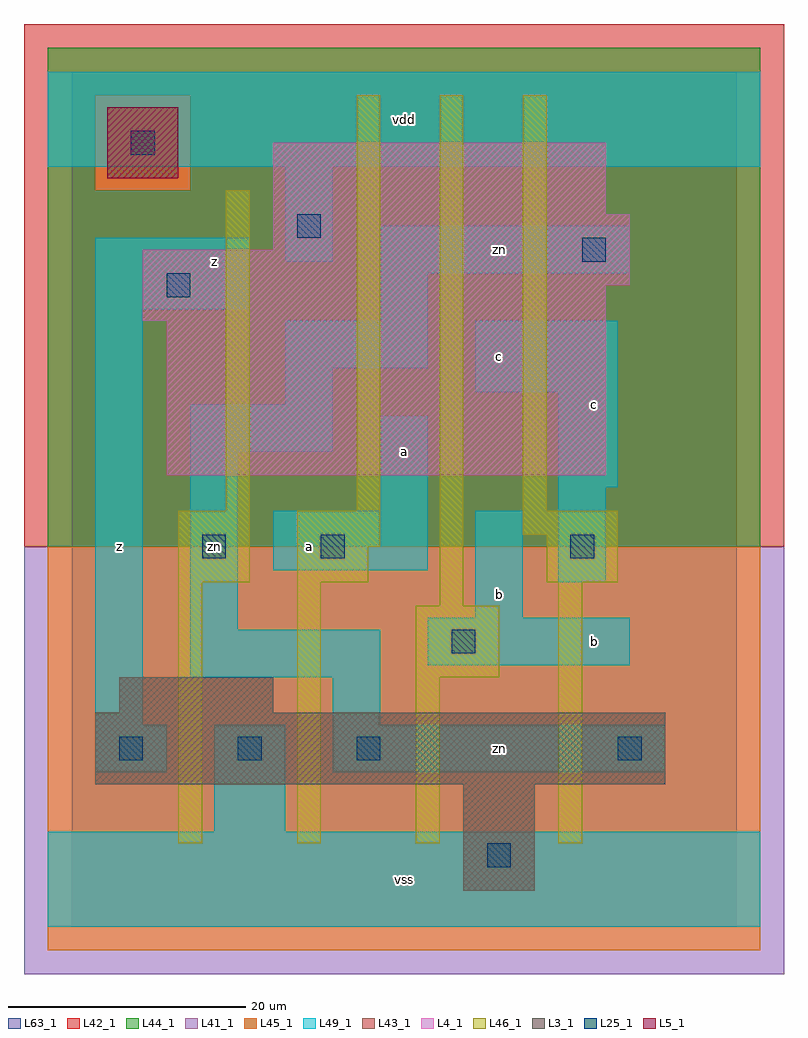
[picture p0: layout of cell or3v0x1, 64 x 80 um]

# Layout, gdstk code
import gdstk
lib = gdstk.Library(unit=1e-6, precision=1e-09)
def R(c, l, rs):  # rectangles x0, y0, x1, y1
    for r in rs: c.add(gdstk.rectangle(r[:2], r[2:], *l))
def A(c, l, x, y, w, h, nx, ny, dx, dy):  # array of equal rectangles
    R(c, l, [(x+i*dx, y+j*dy, x+i*dx+w, y+j*dy+h) for i in range(nx) for j in range(ny)])
L3_1 = (3, 1)
L4_1 = (4, 1)
L5_1 = (5, 1)
L25_1 = (25, 1)
L41_1 = (41, 1)
L42_1 = (42, 1)
L43_1 = (43, 1)
L44_1 = (44, 1)
L45_1 = (45, 1)
L46_1 = (46, 1)
L49_1 = (49, 1)
L63_1 = (63, 1)

or3v0x1 = lib.new_cell('or3v0x1')
R(or3v0x1, L3_1, [(33,3,39,12), (2,12,50,18), (4,18,17,21)])
R(or3v0x1, L4_1, [(8,38,45,51), (6,51,45,54), (6,54,47,57), (17,57,47,60), (17,60,45,66)])
R(or3v0x1, L5_1, [(3,63,9,69)])
A(or3v0x1, L25_1, 4, 14, 2, 2, 3, 1, 10, 0)
R(or3v0x1, L25_1, [(35,5,37,7), (46,14,48,16), (32,23,34,25), (11,31,13,33), (21,31,23,33), (42,31,44,33), (8,53,10,55), (43,56,45,58), (19,58,21,60), (5,65,7,67)])
R(or3v0x1, L41_1, [(-4,-4,60,32)])
R(or3v0x1, L42_1, [(-4,32,60,76)])
R(or3v0x1, L43_1, [(33,3,39,12), (2,12,50,18), (4,18,17,21), (8,38,45,51), (6,51,45,54), (6,54,47,57), (17,57,47,60), (17,60,45,66), (3,63,9,69)])
R(or3v0x1, L44_1, [(-2,32,58,62), (-2,62,2,70), (10,62,58,70), (-2,70,58,74)])
R(or3v0x1, L45_1, [(-2,-2,58,32), (2,62,10,70)])
R(or3v0x1, L46_1, [(9,7,11,29), (19,7,21,29), (29,7,31,21), (41,7,43,29), (29,21,36,27), (31,27,33,70), (9,29,15,35), (19,29,25,32), (40,29,46,33), (19,32,26,35), (38,33,46,35), (13,35,15,62), (24,35,26,70), (38,35,40,70)])
R(or3v0x1, L49_1, [(-2,0,58,8), (12,8,18,17), (2,13,8,17), (22,13,50,17), (2,17,6,52), (22,17,26,21), (10,21,26,25), (30,22,47,26), (10,25,14,40), (34,26,38,35), (41,29,45,37), (17,30,30,35), (26,35,30,43), (41,37,46,45), (10,40,22,44), (18,44,22,47), (34,45,46,51), (18,47,30,51), (26,51,30,55), (2,52,15,58), (26,55,47,59), (18,56,22,64), (-2,64,58,72)])
R(or3v0x1, L63_1, [(0,0,56,72)])
or3v0x1.add(gdstk.Label('z', (4,32), layer=49, texttype=1))
or3v0x1.add(gdstk.Label('a', (20,32), layer=49, texttype=1))
or3v0x1.add(gdstk.Label('zn', (12,32), layer=49, texttype=1))
or3v0x1.add(gdstk.Label('z', (12,56), layer=49, texttype=1))
or3v0x1.add(gdstk.Label('vss', (28,4), layer=49, texttype=1))
or3v0x1.add(gdstk.Label('b', (36,28), layer=49, texttype=1))
or3v0x1.add(gdstk.Label('a', (28,40), layer=49, texttype=1))
or3v0x1.add(gdstk.Label('c', (36,48), layer=49, texttype=1))
or3v0x1.add(gdstk.Label('vdd', (28,68), layer=49, texttype=1))
or3v0x1.add(gdstk.Label('zn', (36,15), layer=49, texttype=1))
or3v0x1.add(gdstk.Label('b', (44,24), layer=49, texttype=1))
or3v0x1.add(gdstk.Label('c', (44,44), layer=49, texttype=1))
or3v0x1.add(gdstk.Label('zn', (36,57), layer=49, texttype=1))

lib.write_gds('or3v0x1.gds')
